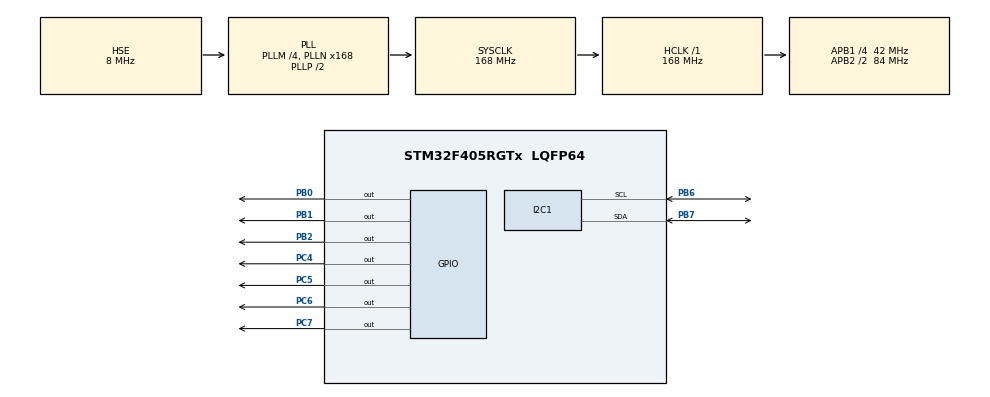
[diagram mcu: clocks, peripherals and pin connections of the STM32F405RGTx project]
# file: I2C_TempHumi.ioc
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Mcu.Family=STM32F4
RCC.PLLSourceVirtual=RCC_PLLSOURCE_HSE
PH0-OSC_IN.Signal=RCC_OSC_IN
RCC.CortexFreq_Value=168000000
PC4.Signal=GPIO_Output
PC6.Signal=GPIO_Output
RCC.APB1CLKDivider=RCC_HCLK_DIV4
RCC.SYSCLKSource=RCC_SYSCLKSOURCE_PLLCLK
ProjectManager.StackSize=0x400
PA13.Signal=SYS_JTMS-SWDIO
ProjectManager.TargetToolchain=EWARM V8.32
I2C1.I2C_Mode=I2C_Fast
RCC.HCLKFreq_Value=168000000
RCC.APB2TimFreq_Value=168000000
PB6.Signal=I2C1_SCL
PC7.Signal=GPIO_Output
PB6.Mode=I2C
RCC.LSE_VALUE=32768
RCC.AHBFreq_Value=168000000
PH0-OSC_IN.Mode=HSE-External-Oscillator
RCC.HSE_VALUE=8000000
PB2.Signal=GPIO_Output
board=custom
RCC.VCOOutputFreq_Value=336000000
RCC.APB2Freq_Value=84000000
PA14.Mode=Serial_Wire
PH1-OSC_OUT.Signal=RCC_OSC_OUT
PB7.Signal=I2C1_SDA
PA13.Mode=Serial_Wire
Mcu.Name=STM32F405RGTx
PH1-OSC_OUT.Mode=HSE-External-Oscillator
RCC.48MHZClocksFreq_Value=84000000
RCC.SYSCLKFreq_VALUE=168000000
Mcu.Package=LQFP64
PB1.Signal=GPIO_Output
PB7.Mode=I2C
PA14.Signal=SYS_JTCK-SWCLK
ProjectManager.HeapSize=0x200
RCC.HSI_VALUE=16000000
NVIC.PriorityGroup=NVIC_PRIORITYGROUP_4
RCC.APB2CLKDivider=RCC_HCLK_DIV2
RCC.PLLM=4
RCC.PLLN=168
RCC.APB1TimFreq_Value=84000000
PC5.Signal=GPIO_Output
RCC.APB1Freq_Value=42000000
PB0.Signal=GPIO_Output

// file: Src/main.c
/* USER CODE BEGIN Header */
/**
  ******************************************************************************
  * @file           : main.c
  * @brief          : Main program body
  ******************************************************************************
  * @attention
  *
  * <h2><center>&copy; Copyright (c) 2020 STMicroelectronics.
  * All rights reserved.</center></h2>
  *
  * This software component is licensed by ST under BSD 3-Clause license,
  * the "License"; You may not use this file except in compliance with the
  * License. You may obtain a copy of the License at:
  *                        opensource.org/licenses/BSD-3-Clause
  *
  ******************************************************************************
  */
/* USER CODE END Header */

#include "main.h"
#include "i2c.h"
#include "gpio.h"

/* USER CODE BEGIN Includes */
#include "stdio.h"
#include "lcd.h"
/* USER CODE END Includes */

/* USER CODE BEGIN PD */
#define SHT2x_ADDR              0x40<<1
#define SHT2x_HOLD_MASTER_T     0xE3
#define SHT2x_HOLD_MASTER_RH    0xE5
#define SHT2x_NOHOLD_MASTER_T   0xF3
#define SHT2x_NOHOLD_MASTER_RH  0xF5
#define SHT2x_WRITE_USER_REG    0xE6
#define SHT2x_READ_USER_REG     0xE7
#define SHT2x_SOFT_RESET        0xFE
/* USER CODE END PD */

/* USER CODE BEGIN PV */
uint8_t i2cData[2];
uint16_t val = 0;
uint8_t mode;
float TEMP, HUMI;
char str[16];
/* USER CODE END PV */

void SystemClock_Config(void);

int main(void)
{

  /* MCU Configuration--------------------------------------------------------*/

  /* Reset of all peripherals, Initializes the Flash interface and the Systick. */
  HAL_Init();

  /* Configure the system clock */
  SystemClock_Config();

  /* Initialize all configured peripherals */
  MX_GPIO_Init();
  MX_I2C1_Init();
  /* USER CODE BEGIN 2 */
  lcdInit();
  /* USER CODE END 2 */

  /* Infinite loop */
  /* USER CODE BEGIN WHILE */
  while (1)
  {
    // TEMP
    mode = SHT2x_NOHOLD_MASTER_T;
    HAL_I2C_Master_Transmit(&hi2c1, SHT2x_ADDR, &mode, 1, 10);
    HAL_Delay(100);
    HAL_I2C_Master_Receive(&hi2c1, SHT2x_ADDR, i2cData, 2, 10);

    val = i2cData[0] << 8 | i2cData[1];
    TEMP = -46.85 + 175.72 * ((float)val / 65536);
    lcdGotoXY(0, 0);
    sprintf(str, "TEMP : %5.2lf", TEMP);
    lcdPrint(str);
    // HUMI
    mode = SHT2x_NOHOLD_MASTER_RH;
    HAL_I2C_Master_Transmit(&hi2c1, SHT2x_ADDR, &mode, 1, 10);
    HAL_Delay(100);
    HAL_I2C_Master_Receive(&hi2c1, SHT2x_ADDR, i2cData, 2, 10);

    val = i2cData[0] << 8 | i2cData[1];
    HUMI = -6 + 125 * ((float)val / 65536);
    lcdGotoXY(0, 1);
    sprintf(str, "HUMI : %5.2lf", HUMI);
    lcdPrint(str);
    /* USER CODE END WHILE */

  }
}

void SystemClock_Config(void)
{
  RCC_OscInitTypeDef RCC_OscInitStruct = {0};
  RCC_ClkInitTypeDef RCC_ClkInitStruct = {0};

  /** Configure the main internal regulator output voltage
  */
  __HAL_RCC_PWR_CLK_ENABLE();
  __HAL_PWR_VOLTAGESCALING_CONFIG(PWR_REGULATOR_VOLTAGE_SCALE1);
  /** Initializes the CPU, AHB and APB busses clocks
  */
  RCC_OscInitStruct.OscillatorType = RCC_OSCILLATORTYPE_HSE;
  RCC_OscInitStruct.HSEState = RCC_HSE_ON;
  RCC_OscInitStruct.PLL.PLLState = RCC_PLL_ON;
  RCC_OscInitStruct.PLL.PLLSource = RCC_PLLSOURCE_HSE;
  RCC_OscInitStruct.PLL.PLLM = 4;
  RCC_OscInitStruct.PLL.PLLN = 168;
  RCC_OscInitStruct.PLL.PLLP = RCC_PLLP_DIV2;
  RCC_OscInitStruct.PLL.PLLQ = 4;
  if (HAL_RCC_OscConfig(&RCC_OscInitStruct) != HAL_OK)
  {
    Error_Handler();
  }
  /** Initializes the CPU, AHB and APB busses clocks
  */
  RCC_ClkInitStruct.ClockType = RCC_CLOCKTYPE_HCLK|RCC_CLOCKTYPE_SYSCLK
                              |RCC_CLOCKTYPE_PCLK1|RCC_CLOCKTYPE_PCLK2;
  RCC_ClkInitStruct.SYSCLKSource = RCC_SYSCLKSOURCE_PLLCLK;
  RCC_ClkInitStruct.AHBCLKDivider = RCC_SYSCLK_DIV1;
  RCC_ClkInitStruct.APB1CLKDivider = RCC_HCLK_DIV4;
  RCC_ClkInitStruct.APB2CLKDivider = RCC_HCLK_DIV2;

  if (HAL_RCC_ClockConfig(&RCC_ClkInitStruct, FLASH_LATENCY_5) != HAL_OK)
  {
    Error_Handler();
  }
}

void Error_Handler(void)
{
}

/************************ (C) COPYRIGHT STMicroelectronics *****END OF FILE****/
